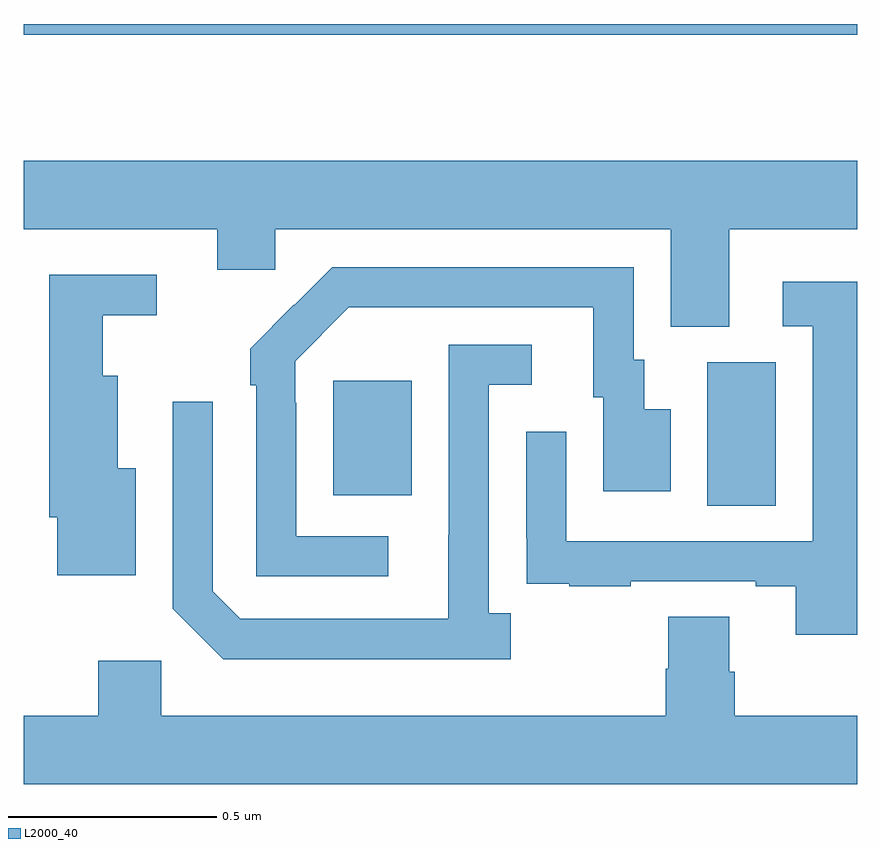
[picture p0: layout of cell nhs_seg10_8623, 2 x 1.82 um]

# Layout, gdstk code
import gdstk
lib = gdstk.Library(unit=1e-6, precision=1e-09)
def R(c, l, rs):  # rectangles x0, y0, x1, y1
    for r in rs: c.add(gdstk.rectangle(r[:2], r[2:], *l))
def P(c, l, *ps):  # polygons
    for p in ps: c.add(gdstk.Polygon(p, *l))
L2000_40 = (2000, 40)

nhs_seg10_8623 = lib.new_cell('nhs_seg10_8623')
R(nhs_seg10_8623, L2000_40, [(220.64,1274.344,220.804,1274.688), (219.743,1274.369,219.931,1274.644), (219,1275.474,221,1275.5)])
P(nhs_seg10_8623, L2000_40, [(220.693,1275.008),(221,1275.008),(221,1275.172),(219,1275.172),(219,1275.008),(219.464,1275.008),(219.464,1274.91),(219.603,1274.91),(219.603,1275.008),(220.553,1275.008),(220.553,1274.773),(220.693,1274.773)],
  [(219.874,1274.271),(219.654,1274.271),(219.654,1274.591),(219.651,1274.591),(219.651,1274.691),(219.78,1274.82),(220.367,1274.82),(220.367,1274.604),(220.391,1274.604),(220.391,1274.379),(220.552,1274.379),(220.552,1274.575),(220.489,1274.575),(220.489,1274.694),(220.464,1274.694),(220.464,1274.916),(219.74,1274.916),(219.649,1274.825),(219.648,1274.826),(219.543,1274.721),(219.543,1274.633),(219.558,1274.633),(219.558,1274.175),(219.874,1274.175)],
  [(219.268,1274.434),(219.226,1274.434),(219.226,1274.656),(219.19,1274.656),(219.19,1274.801),(219.319,1274.801),(219.319,1274.898),(219.061,1274.898),(219.061,1274.316),(219.08,1274.316),(219.08,1274.177),(219.268,1274.177)],
  [(221,1274.881),(220.821,1274.881),(220.821,1274.775),(220.893,1274.775),(220.893,1274.259),(220.302,1274.259),(220.302,1274.521),(220.206,1274.521),(220.206,1274.266),(220.207,1274.266),(220.207,1274.157),(220.309,1274.157),(220.309,1274.151),(220.457,1274.151),(220.457,1274.163),(220.757,1274.163),(220.757,1274.151),(220.853,1274.151),(220.853,1274.034),(221,1274.034)],
  [(220.168,1274.086),(220.116,1274.086),(220.116,1274.634),(220.219,1274.634),(220.219,1274.73),(220.02,1274.73),(220.02,1274.273),(220.019,1274.273),(220.019,1274.073),(219.519,1274.073),(219.453,1274.139),(219.453,1274.593),(219.357,1274.593),(219.357,1274.097),(219.478,1273.976),(220.168,1273.976)],
  [(221,1273.84),(220.706,1273.84),(220.706,1273.946),(220.693,1273.946),(220.693,1274.078),(220.546,1274.078),(220.546,1273.953),(220.541,1273.953),(220.541,1273.84),(219.33,1273.84),(219.33,1273.972),(219.179,1273.972),(219.179,1273.84),(219,1273.84),(219,1273.676),(221,1273.676)])

lib.write_gds('nhs_seg10_8623.gds')
